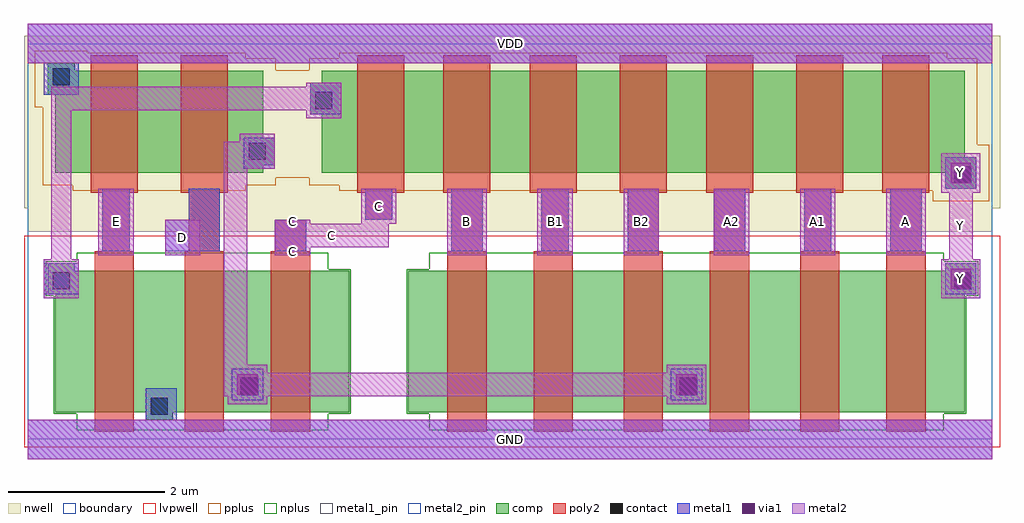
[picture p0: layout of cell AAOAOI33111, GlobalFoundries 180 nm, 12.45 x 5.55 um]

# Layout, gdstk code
import gdstk
lib = gdstk.Library(unit=1e-6, precision=1e-09)
def R(c, l, rs):  # rectangles x0, y0, x1, y1
    for r in rs: c.add(gdstk.rectangle(r[:2], r[2:], *l))
def A(c, l, x, y, w, h, nx, ny, dx, dy):  # array of equal rectangles
    R(c, l, [(x+i*dx, y+j*dy, x+i*dx+w, y+j*dy+h) for i in range(nx) for j in range(ny)])
boundary = (0, 0)
nwell = (21, 0)
comp = (22, 0)
poly2 = (30, 0)
pplus = (31, 0)
nplus = (32, 0)
contact = (33, 0)
metal1 = (34, 0)
metal1_pin = (34, 10)
via1 = (35, 0)
metal2 = (36, 0)
metal2_pin = (36, 10)
lvpwell = (204, 0)

aaoaoi33111 = lib.new_cell('AAOAOI33111')
R(aaoaoi33111, boundary, [(0,0,12.3,5.05)])
R(aaoaoi33111, nwell, [(0,2.65,12.3,2.95), (-0.05,2.95,12.4,5.15)])
R(aaoaoi33111, comp, [(1.5,0.25,1.85,0.35), (0.35,0.35,4.1,1.85), (4.85,0.35,11.95,1.85), (0.25,1.85,4.1,2.15), (4.85,1.85,12.1,2.15), (0.25,2.15,0.6,2.25), (11.7,2.15,12.1,2.25), (11.7,3.2,12.1,3.4), (0.35,3.4,3,3.5), (3.75,3.4,12.1,3.6), (0.35,3.5,3.15,3.85), (3.75,3.6,11.95,4.15), (0.35,3.85,3,4.4), (3.6,4.15,11.95,4.55), (0.25,4.4,3,4.7), (3.75,4.55,11.95,4.7), (0.25,4.7,0.6,4.8)])
A(aaoaoi33111, poly2, 4.2, 3.15, 0.6, 1.75, 3, 1, 1.1, 0)
R(aaoaoi33111, poly2, [(0.85,0.1,1.35,2.4), (2,0.1,2.5,2.4), (3.1,0.1,3.6,2.4), (5.35,0.1,5.85,2.4), (6.45,0.1,6.95,2.4), (7.6,0.1,8.1,2.4), (8.7,0.1,9.2,2.4), (9.85,0.1,10.35,2.4), (10.95,0.1,11.45,2.4), (0.95,2.4,1.3,3.15), (2.05,2.4,2.45,3.15), (3.15,2.4,3.55,2.8), (5.4,2.4,5.8,3.15), (6.55,2.4,6.9,3.15), (7.65,2.4,8.05,3.15), (8.75,2.4,9.15,3.15), (9.9,2.4,10.25,3.15), (11,2.4,11.4,3.15), (4.3,2.8,4.65,3.15), (0.8,3.15,1.4,4.9), (1.95,3.15,2.55,4.9), (7.55,3.15,8.15,4.9), (8.65,3.15,9.25,4.9), (9.8,3.15,10.4,4.9), (10.9,3.15,11.5,4.9)])
R(aaoaoi33111, pplus, [(11.54,3.04,12.26,3.17), (0.57,3.17,2.78,3.24), (3.97,3.17,12.26,3.24), (0.19,3.24,3.16,3.34), (3.59,3.24,12.26,3.34), (0.19,3.34,12.26,3.76), (0.19,3.76,12.11,4.24), (0.09,4.24,12.11,4.71), (0.09,4.71,3.16,4.86), (3.59,4.71,12.11,4.86), (0.09,4.86,2.78,4.93), (3.97,4.86,11.73,4.93), (0.09,4.93,0.76,4.96)])
R(aaoaoi33111, nplus, [(0.62,0.12,3.83,0.33), (5.12,0.12,11.68,0.33), (0.33,0.33,4.12,1.83), (4.83,0.33,11.97,1.83), (0.23,1.83,4.12,2.17), (4.83,1.83,12.12,2.17), (0.23,2.17,3.83,2.27), (5.12,2.17,12.12,2.27), (0.62,2.27,3.83,2.38), (5.12,2.27,11.68,2.38)])
R(aaoaoi33111, contact, [(1.565,0.315,1.785,0.535), (2.715,0.565,2.935,0.785), (8.315,0.565,8.535,0.785), (0.315,1.915,0.535,2.135), (11.815,1.915,12.035,2.135), (11.815,3.265,12.035,3.485), (2.815,3.565,3.035,3.785), (3.665,4.215,3.885,4.435), (0.315,4.515,0.535,4.735)])
R(aaoaoi33111, metal1, [(0,-0.25,12.3,0.25), (1.5,0.25,1.9,0.65), (2.6,0.5,3,0.9), (8.2,0.5,8.6,0.9), (0.2,1.85,0.65,2.25), (11.7,1.85,12.1,2.25), (0.95,2.4,1.3,3.2), (1.75,2.4,2.45,2.8), (3.15,2.4,3.55,2.8), (5.4,2.4,5.8,3.2), (6.55,2.4,6.9,3.2), (7.65,2.4,8.05,3.2), (8.75,2.4,9.15,3.2), (9.9,2.4,10.25,3.2), (11,2.4,11.4,3.2), (2.05,2.8,2.45,3.2), (4.3,2.8,4.65,3.2), (11.7,3.2,12.1,3.6), (2.75,3.45,3.15,3.85), (3.6,4.15,4,4.55), (0.2,4.4,0.65,4.8), (0,4.8,12.3,5.3)])
R(aaoaoi33111, metal1_pin, [(0,-0.25,12.3,0.25), (0,4.8,12.3,5.3)])
R(aaoaoi33111, via1, [(2.67,0.57,2.93,0.83), (8.27,0.57,8.53,0.83), (11.77,1.92,12.03,2.18), (11.77,3.27,12.03,3.53)])
R(aaoaoi33111, metal2, [(0,-0.25,12.3,0.25), (2.55,0.45,3.05,0.55), (8.15,0.45,8.65,0.55), (2.5,0.55,8.65,0.85), (2.5,0.85,3.05,0.95), (8.15,0.85,8.65,0.95), (2.5,0.95,2.8,3.45), (0.2,1.8,0.65,2.3), (11.65,1.8,12.15,2.3), (0.3,2.3,0.55,4.2), (11.75,2.3,12.05,3.15), (0.9,2.35,1.35,3.2), (1.75,2.35,2.2,2.8), (3.15,2.35,3.6,2.45), (5.35,2.35,5.85,3.2), (6.5,2.35,6.95,3.2), (7.6,2.35,8.05,3.2), (8.75,2.35,9.2,3.2), (9.85,2.35,10.3,3.2), (10.95,2.35,11.45,3.2), (3.15,2.45,4.6,2.75), (3.15,2.75,3.6,2.8), (4.25,2.75,4.7,3.2), (11.65,3.15,12.15,3.65), (2.5,3.45,3.15,3.8), (2.7,3.8,3.15,3.9), (3.55,4.1,4,4.2), (0.3,4.2,4,4.5), (3.55,4.5,4,4.55), (0,4.8,12.3,5.3)])
R(aaoaoi33111, metal2_pin, [(11.65,1.8,12.15,2.3), (11.75,2.3,12.05,3.15), (0.9,2.35,1.35,3.2), (1.75,2.35,2.2,2.8), (3.15,2.35,3.6,2.45), (5.35,2.35,5.85,3.2), (6.5,2.35,6.95,3.2), (7.6,2.35,8.05,3.2), (8.75,2.35,9.2,3.2), (9.85,2.35,10.3,3.2), (10.95,2.35,11.45,3.2), (3.15,2.45,4.6,2.75), (3.15,2.75,3.6,2.8), (4.25,2.75,4.7,3.2), (11.65,3.15,12.15,3.65)])
R(aaoaoi33111, lvpwell, [(-0.05,-0.1,12.4,2.6)])
aaoaoi33111.add(gdstk.Label('VDD', (6.15,5.05), layer=34, texttype=10))
aaoaoi33111.add(gdstk.Label('GND', (6.15,0), layer=34, texttype=10))
aaoaoi33111.add(gdstk.Label('Y', (11.9,2.05), layer=36, texttype=10))
aaoaoi33111.add(gdstk.Label('Y', (11.9,2.725), layer=36, texttype=10))
aaoaoi33111.add(gdstk.Label('Y', (11.9,3.4), layer=36, texttype=10))
aaoaoi33111.add(gdstk.Label('B2', (7.825,2.775), layer=36, texttype=10))
aaoaoi33111.add(gdstk.Label('A1', (10.075,2.775), layer=36, texttype=10))
aaoaoi33111.add(gdstk.Label('A', (11.2,2.775), layer=36, texttype=10))
aaoaoi33111.add(gdstk.Label('C', (3.375,2.4), layer=36, texttype=10))
aaoaoi33111.add(gdstk.Label('C', (3.875,2.6), layer=36, texttype=10))
aaoaoi33111.add(gdstk.Label('C', (3.375,2.775), layer=36, texttype=10))
aaoaoi33111.add(gdstk.Label('C', (4.475,2.975), layer=36, texttype=10))
aaoaoi33111.add(gdstk.Label('A2', (8.975,2.775), layer=36, texttype=10))
aaoaoi33111.add(gdstk.Label('B', (5.6,2.775), layer=36, texttype=10))
aaoaoi33111.add(gdstk.Label('B1', (6.725,2.775), layer=36, texttype=10))
aaoaoi33111.add(gdstk.Label('E', (1.125,2.775), layer=36, texttype=10))
aaoaoi33111.add(gdstk.Label('D', (1.975,2.575), layer=36, texttype=10))

lib.write_gds('AAOAOI33111.gds')
